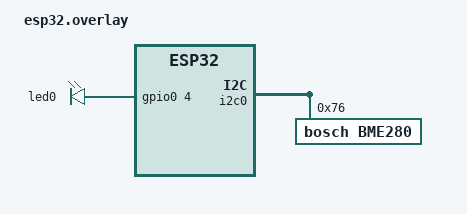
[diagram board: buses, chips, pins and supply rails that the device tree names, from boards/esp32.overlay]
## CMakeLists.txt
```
# Set the board to use for this project.
set(BOARD esp32)

cmake_minimum_required(VERSION 3.20.0)
find_package(Zephyr REQUIRED HINTS $ENV{ZEPHYR_BASE})

# Set the project name.
project(HouseEnvSensBLE)

target_sources(app PRIVATE src/main.c src/sensor_interface.c src/bluetooth_interface.c)
target_include_directories(app PRIVATE includes)
# zephyr_library_include_directories(${ZEPHYR_BASE}/samples/bluetooth)
```

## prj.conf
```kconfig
# Logging interface
CONFIG_LOG=y
# Bluetooth Interface
CONFIG_BT=y
CONFIG_BT_PERIPHERAL=y
CONFIG_BT_DEVICE_NAME="House Environmental Monitor"
CONFIG_BT_DEVICE_APPEARANCE=768
CONFIG_BT_SMP=y
CONFIG_TINYCRYPT=y
# BT Debugging
CONFIG_BT_DEBUG_LOG=y
# Sensor Interface
CONFIG_I2C=y
CONFIG_SENSOR=y
CONFIG_BME280=y
# Printf Needed
CONFIG_NEWLIB_LIBC=y 
CONFIG_CBPRINTF_FP_SUPPORT=y
CONFIG_NEWLIB_LIBC_FLOAT_PRINTF=y
# Heap Size for RTOS
CONFIG_HEAP_MEM_POOL_SIZE=256
```

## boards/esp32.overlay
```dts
/ {
	leds {
		compatible = "gpio-leds";
		led0: led_0 {
			gpios = <&gpio0 4 GPIO_ACTIVE_HIGH>;
		};
	};
};

&i2c0 {
	bme280@76 {
		status = "okay";
		compatible = "bosch,bme280";
		reg = <0x76>;
	};
};
```

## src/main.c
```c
#include <zephyr/kernel.h>
#include <zephyr/logging/log.h>
#include <zephyr/bluetooth/bluetooth.h>
#include <zephyr/bluetooth/conn.h>

#include <sensor_interface.h>
#include <bluetooth_interface.h>
#include <thread_settings.h>

#define WINDOW_SIZE_FOR_FILTER 5

LOG_MODULE_REGISTER(HouseEnvironmentMonitor);
K_SEM_DEFINE(semaphore_send_ready, 0, 1);

/* Thread for producer task. This thread will read the sensor data and store it in
 * the sensor_value_lifo. The thread will sleep for THREAD_SENSOR_SLEEP seconds
 * before reading the sensor data again.
 */
void sensor_read_thread(void) {
	// Get the BME280 device.
	const struct device *bme280_device = get_bme280_device();

	// Count the number of sensor readings.
	int sensor_read_count = 0;
	// Start the sensor readings.
	while (1) {
		LOG_DBG("Reading sensor data...");

		// Read the sensor data.
		update_sensor_data(bme280_device);

		// Increment the sensor read count.
		sensor_read_count++;

		// Give back the semaphore.
		if (sensor_read_count >= WINDOW_SIZE_FOR_FILTER) {
			sensor_read_count = 0;
			k_sem_give(&semaphore_send_ready);
		}

		// Sleep for THREAD_SLEEP seconds.
		k_sleep(K_SECONDS(THREAD_SENSOR_SLEEP));
	}
}

/* Thread for consumer task. This thread will read the sensor data from the sensor_value_lifo
 * and advertise the BLE services. The thread will sleep for THREAD_BLE_SLEEP seconds before
 * starting the advertisment again.
 */
void ble_advertise_thread(void) {
	int error = bt_enable(NULL);
	if (error) {
		LOG_ERR("ERROR: Bluetooth initilisation is failed with error code %d.", error);
		return;
	}

	// Start BLE services.
	start_bluetooth_advertisement();
	bt_conn_auth_cb_register(&callback_ble_display_info);
	
	while (1) {
		// Wait for the semaphore to be available.
		if (k_sem_take(&semaphore_send_ready, K_NO_WAIT) == 0) {
			LOG_DBG("Sensor data is available to send.");

			// Get the sensor data from the filter.
			struct values_for_ble_t *filtered_values = filter_sensor_value(WINDOW_SIZE_FOR_FILTER);
		
			// Check if the sensor data is available.
			if (filtered_values == NULL) {
				LOG_ERR("ERROR: No sensor data available.");
				continue;
			}

			LOG_INF("Sending sensor values with BLE: (%d.%d C) (%d.%d hPa)",
				filtered_values->temp_reading_int, filtered_values->temp_reading_dec,
				filtered_values->press_reading_int*10, filtered_values->press_reading_dec);

			// Notify the BLE connected device with new filtered values.
			notify_ble_connected_device(filtered_values);

			// Free the memory.
			k_free(filtered_values);
  		};

		// Sleep for THREAD_SLEEP seconds.
		k_sleep(K_SECONDS(THREAD_BLE_SLEEP));
	}
}
```

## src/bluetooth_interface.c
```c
#include <zephyr/bluetooth/bluetooth.h>
#include <zephyr/bluetooth/hci.h>
#include <zephyr/bluetooth/conn.h>
#include <zephyr/bluetooth/uuid.h>
#include <zephyr/bluetooth/gatt.h>
#include <zephyr/logging/log.h>
#include <zephyr/sys/byteorder.h>

#include <structs.h>

LOG_MODULE_DECLARE(HouseEnvironmentMonitor);

int16_t temp_reading = 0;
uint32_t press_reading = 0;
// uint16_t humid_reading = 0;

static void ble_ccc_cfg_changed(const struct bt_gatt_attr *attr, uint16_t value) {
	LOG_INF("Notifications %s.", (value == BT_GATT_CCC_NOTIFY) ? "enabled" : "disabled");
}

static ssize_t ble_read_operation(struct bt_conn *conn, const struct bt_gatt_attr *attr, void *buf, uint16_t len, uint16_t offset) {
	return bt_gatt_attr_read(conn, attr, buf, len, offset, &temp_reading, sizeof(temp_reading));
}

BT_GATT_SERVICE_DEFINE(
    ess_service, BT_GATT_PRIMARY_SERVICE(BT_UUID_ESS),

    /* Temperature Sensor */
    BT_GATT_CHARACTERISTIC(BT_UUID_TEMPERATURE, BT_GATT_CHRC_READ | BT_GATT_CHRC_NOTIFY, BT_GATT_PERM_READ, ble_read_operation, NULL, &temp_reading),
    BT_GATT_CCC(ble_ccc_cfg_changed, BT_GATT_PERM_READ | BT_GATT_PERM_WRITE),
	BT_GATT_CUD("BME280 Temperature Sensor", BT_GATT_PERM_READ),

    /* Pressure Sensor */
    BT_GATT_CHARACTERISTIC(BT_UUID_PRESSURE, BT_GATT_CHRC_NOTIFY, BT_GATT_PERM_READ, ble_read_operation, NULL, NULL),
    BT_GATT_CCC(ble_ccc_cfg_changed, BT_GATT_PERM_READ | BT_GATT_PERM_WRITE),
	BT_GATT_CUD("BME280 Pressure Sensor", BT_GATT_PERM_READ),

	/*
    Humidity Sensor
    BT_GATT_CHARACTERISTIC(BT_UUID_HUMIDITY, BT_GATT_CHRC_READ | BT_GATT_CHRC_NOTIFY, BT_GATT_PERM_READ, ble_read_operation, NULL, &humid_reading),
    BT_GATT_CCC(ble_ccc_cfg_changed, BT_GATT_PERM_READ | BT_GATT_PERM_WRITE),
	BT_GATT_CUD("BME280 Humidity Sensor", BT_GATT_PERM_READ),
	*/
);


/* This array defines the BLE advertisement data. The data is used to advertise the
 * BLE services. The data is sent to the BLE scanner. The scanner can then use the
 * data to connect to the BLE device. The data needs to be defined in bt_le_adv_start().
 */
static const struct bt_data advertisment_data[] = {
	BT_DATA_BYTES(
		BT_DATA_FLAGS,
		(BT_LE_AD_GENERAL | BT_LE_AD_NO_BREDR)
	),
	BT_DATA_BYTES(BT_DATA_GAP_APPEARANCE, 0x00, 0x03),
	BT_DATA_BYTES(
		BT_DATA_UUID16_ALL,
		BT_UUID_16_ENCODE(BT_UUID_ESS_VAL),
	),
};

/* This function is called when the BLE connection is established. If the connection
 * is successful, the function will print "INFO: Connected". Otherwise, it will print
 * "ERROR: Connection failed (error 0x%02x)". This function is called by the Zephyr
 * Bluetooth stack. No need to call it manually.
 */
static void callback_ble_connect(struct bt_conn *connection, uint8_t error) {
	if (error) {
		LOG_ERR("Connection failed (error 0x%02x).", error);
	} else {
		LOG_INF("A new BLE connection handled!");
	}
}

/* This function is called when the BLE connection is terminated. If the connection
 * is terminated, the function will print "Disconnected (reason 0x%02x)". This function
 * is called by the Zephyr Bluetooth stack. No need to call it manually.
 */
static void callback_ble_disconnect(struct bt_conn *connection, uint8_t reason) {
	LOG_INF("BLE disconnected (reason 0x%02x).", reason);
}

/* This macro defines the connection callbacks. The callbacks are called by the Zephyr
 * Bluetooth stack. No need to call them manually. Notice the similarity with the Linux
 * kernel callback macros.
 */
BT_CONN_CB_DEFINE(conn_callbacks) = {
	.connected = callback_ble_connect,
	.disconnected = callback_ble_disconnect,
};

/* This function is the main handler for the BLE advertisement. It should be called
 * after the BLE services are started. The function will start the BLE advertisement. 
 */
void start_bluetooth_advertisement(void) {
	LOG_INF("Bluetooth initialized.");

	int error = bt_le_adv_start(
        BT_LE_ADV_CONN_NAME,
        advertisment_data,
        ARRAY_SIZE(advertisment_data),
        NULL,
        0
    );

	if (error) {
		LOG_ERR("Advertising failed to start (err %d)", error);
		return;
	}

	LOG_DBG("Advertising successfully started.");
}

/* This function is called when the BLE pairing is cancelled. If the pairing is
 * cancelled, the function will print "Pairing cancelled: %s.". This function is
 * called by the Zephyr Bluetooth stack. No need to call it manually.
 */
static void callback_ble_pairing_cancel(struct bt_conn *connection) {
	char addr[BT_ADDR_LE_STR_LEN];
	bt_addr_le_to_str(bt_conn_get_dst(connection), addr, sizeof(addr));

	LOG_ERR("BLE pairing cancelled: %s.", addr);
}

/* This struct defines the BLE pairing callbacks. The callbacks are called by the
 * Zephyr Bluetooth stack. No need to call them manually. Notice the similarity with
 * the Linux kernel callback macros.
 */
struct bt_conn_auth_cb callback_ble_display_info = {
	.cancel = callback_ble_pairing_cancel,
};


ssize_t read_u16(struct bt_conn *conn, const struct bt_gatt_attr *attr, void *buf, uint16_t len, uint16_t offset) {
	const uint16_t *u16 = attr->user_data;
	uint16_t value = sys_cpu_to_le16(*u16);
 	return bt_gatt_attr_read(conn, attr, buf, len, offset, &value, sizeof(value));
}


void notify_ble_connected_device(struct values_for_ble_t *value_to_notify) {
	// Save the int part and dec part of the reading into an array.
	temp_reading = value_to_notify->temp_reading_int * 100 + value_to_notify->temp_reading_dec * 0.0001;
	press_reading = value_to_notify->press_reading_int * 100 + value_to_notify->press_reading_dec * 0.0001;

	// Convert the int part and dec part of the reading into a single integer. It's not realistically implemented.
	// humid_reading = value_to_notify->hum_reading_int * 100 + value_to_notify->hum_reading_dec;

	LOG_DBG("Notifying BLE connected device with temperature: %d.%d, pressure: %d.%d", 
		value_to_notify->temp_reading_int, value_to_notify->temp_reading_dec, 
		value_to_notify->press_reading_int*10, value_to_notify->press_reading_dec);
	LOG_DBG("Temperature: %d", temp_reading);
	LOG_DBG("Pressure: %d", press_reading);
	// LOG_INF("Humidity: %d", humid_reading);

	// BLE requires the data to be in little endian format.
	temp_reading = sys_cpu_to_le16(temp_reading);
	press_reading = sys_cpu_to_le16(press_reading);
	
	// Notify the connected BLE device about the new value.
	bt_gatt_notify_uuid(NULL, BT_UUID_TEMPERATURE, &ess_service.attrs[0], &temp_reading, sizeof(temp_reading));
	bt_gatt_notify_uuid(NULL, BT_UUID_PRESSURE, &ess_service.attrs[0], &press_reading, sizeof(press_reading));
	// bt_gatt_notify_uuid(NULL, BT_UUID_HUMIDITY, &ess_service.attrs[0], &humid_reading, sizeof(humid_reading));
}
```

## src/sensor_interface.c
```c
#include <zephyr/kernel.h>
#include <zephyr/types.h>
#include <zephyr/device.h>
#include <zephyr/devicetree.h>
#include <zephyr/drivers/sensor.h>
#include <zephyr/logging/log.h>
#include <zephyr/sys/__assert.h>

#include <sensor_interface.h>

LOG_MODULE_DECLARE(HouseEnvironmentMonitor);
K_LIFO_DEFINE(sensor_value_lifo);

/***** SIMULATION SETTINGS *****/
#define DEFAULT_TEMPERATURE 250
#define DEFAULT_PRESSURE 100
// #define DEFAULT_HUMIDITY 99
static uint8_t sim_temperature = DEFAULT_TEMPERATURE;
static uint8_t sim_pressure = DEFAULT_PRESSURE;
// static uint8_t sim_humidity = DEFAULT_HUMIDITY;

/* This function gets the device from the device tree. Note that the device
 * should have "bosch,bme280" as compatible string.
 * 
 * @param None
 * @return Pointer to the device, or NULL if the device is not found.
 */
const struct device *get_bme280_device(void) {
	const struct device *const dev = DEVICE_DT_GET_ANY(bosch_bme280);

	if (dev == NULL) {
		/* No such node, or the node does not have status "okay". */
		LOG_WRN("No BME280 sensor found. Will be using simulator instead.");
		return NULL;
	}

	if (!device_is_ready(dev)) {
		LOG_ERR("Error: Device \"%s\" is not ready. Check the driver initialization logs for errors.",
		       dev->name);
		return NULL;
	}

	LOG_INF("Found BME280 device \"%s\"", dev->name);
	return dev;
}

/* Read the I2C BME280 sensor, or simulate the sensor data if the sensor is not
 * available. 
 *
 * @param dev Pointer to the device (struct device).
 * @return None
 */
void update_sensor_data(const struct device *dev) {
	// Variables to store sensor data.
	struct sensor_value temp_value, press_value;
	// struct sensor_value humidity_value;

	// Check if the device is ready.
	if (dev != NULL) {
		// LOG
		LOG_DBG("Fetching sensor data.");
		// Read the sensor data.
		sensor_sample_fetch(dev);
		sensor_channel_get(dev, SENSOR_CHAN_AMBIENT_TEMP, &temp_value);
		sensor_channel_get(dev, SENSOR_CHAN_PRESS, &press_value);
		// sensor_channel_get(dev, SENSOR_CHAN_HUMIDITY, &humidity_value);

		// Print the sensor data.
		LOG_DBG("Temperature: %.2f C, Pressure: %.2f Pa", 
			sensor_value_to_double(&temp_value),
			sensor_value_to_double(&press_value));

	} else {
		// If the device is not ready, or not found, sample the sensor 
		// with dummy simulated values.
		// printk("INFO: Simulating sensor data.");

		// Sample the sensor with dummy values.
		temp_value.val1 = sim_temperature;
		temp_value.val2 = sim_temperature * 2 * 1000;
		press_value.val1 = sim_pressure;
		press_value.val2 = sim_pressure * 2 * 1000;
		// humidity_value.val1 = sim_humidity;
		// humidity_value.val2 = sim_humidity * 2 * 1000;

		// Decrease the dummy values.
		sim_temperature -= 1;
		sim_pressure -= 3;
		// sim_humidity -= 2;

		// If the dummy values are below 0, reset them.
		if (sim_temperature < 0)
			sim_temperature = DEFAULT_TEMPERATURE;
		if (sim_pressure < 0)
			sim_pressure = DEFAULT_PRESSURE;
		// if (sim_humidity < 0)
		//	sim_humidity = DEFAULT_HUMIDITY;
	}

	// Debug LOG
	LOG_DBG("Temperature: %.2f C, Pressure: %.2f Pa", 
		sensor_value_to_double(&temp_value),
		sensor_value_to_double(&press_value)
	//	sensor_value_to_double(&humidity_value)
	);

	// Create a struct to store the sensor readings.
	struct sensor_value_store_t tx_data = {
		.temperature = temp_value,
		.pressure = press_value
	//	.humidity = humidity_value,
	};

	size_t datatype_size = sizeof(struct sensor_value_store_t);
	struct sensor_value_store_t *mem_ptr = k_malloc(datatype_size);
	__ASSERT_NO_MSG(mem_ptr != 0);
	memcpy(mem_ptr, &tx_data, datatype_size);

	k_lifo_put(&sensor_value_lifo, mem_ptr);
}

/* Read the queued sensor values for a given window size, and return the
 * median values for each sensor as a values_for_ble_t pointer. The returned
 * pointer must be freed by the caller. This function's output is used to
 * update the BLE advertisement data.
 * 
 * @param window_size The window size to use for the median filter.
 * @return Pointer to the values_for_ble_t struct, or NULL if the window size
 *        is not an odd number.
 */
struct values_for_ble_t* filter_sensor_value(uint8_t window_size) {
	// Check if the window size is an odd number.
	if (window_size % 2 == 0) {
		LOG_ERR("Window size must be an odd number.");
		return NULL;
	}

	// Create a window to store the sensor values.
	uint8_t temp_window_index = 0;
	struct sensor_value temp_window[window_size];
	uint8_t press_window_size = 0;
	struct sensor_value press_window[window_size];
	// uint8_t humid_window_size = 0;
	// struct sensor_value humid_window[window_size];
	
	// Get the last sensor values for windowing operation.
	for (int i = 0; i < window_size; i++) {
		// Get the last sensor values.
		struct sensor_value_store_t *rx_data = k_lifo_get(&sensor_value_lifo, K_FOREVER);
		
		// Store the sensor values in the window.
		temp_window[i] = rx_data->temperature;
		press_window[i] = rx_data->pressure;
		// humid_window[i] = rx_data->humidity;

		k_free(rx_data);
	}

	// Sort the windows.
	for (int i = 0; i < window_size; i++) {
		for (int j = i + 1; j < window_size; j++) {

			// Compare and reorder the temperature values.
			if (temp_window[i].val1 > temp_window[j].val1) {
				// Change the order of the values.
				struct sensor_value temp = temp_window[i];
				temp_window[i] = temp_window[j];
				temp_window[j] = temp;
			} else if (temp_window[i].val1 == temp_window[j].val1) {
				// If the values are equal, compare the decimal values.
				if (temp_window[i].val2 > temp_window[j].val2) {
					// Change the order of the values.
					struct sensor_value temp = temp_window[i];
					temp_window[i] = temp_window[j];
					temp_window[j] = temp;
				}
			}

			// Compare and reorder the pressure values.
			if (press_window[i].val1 > press_window[j].val1) {
				// Change the order of the values.
				struct sensor_value temp = press_window[i];
				press_window[i] = press_window[j];
				press_window[j] = temp;
			} else if (press_window[i].val1 == press_window[j].val1) {
				// If the values are equal, compare the decimal values.
				if (press_window[i].val2 > press_window[j].val2) {
					// Change the order of the values.
					struct sensor_value temp = press_window[i];
					press_window[i] = press_window[j];
					press_window[j] = temp;
				}
			}

			/*
			// Compare and reorder the humidity values.
			if (humid_window[i].val1 > humid_window[j].val1) {
				// Change the order of the values.
				struct sensor_value temp = humid_window[i];
				humid_window[i] = humid_window[j];
				humid_window[j] = temp;
			} else if (humid_window[i].val1 == humid_window[j].val1) {
				// If the values are equal, compare the decimal values.
				if (humid_window[i].val2 > humid_window[j].val2) {
					// Change the order of the values.
					struct sensor_value temp = humid_window[i];
					humid_window[i] = humid_window[j];
					humid_window[j] = temp;
				}
			}
			*/
		}
	}

	// Get the median value.
	struct sensor_value temp_median = temp_window[window_size / 2];
	struct sensor_value press_median = press_window[window_size / 2];
	// struct sensor_value humid_median = humid_window[window_size / 2];

	// Debug LOG
	LOG_DBG("Temperature median: %d.%d C, Pressure median: %d.%d Pa", 
		temp_median.val1, temp_median.val2, press_median.val1, press_median.val2);

	// Return the median as values_for_ble_t.
	struct values_for_ble_t median_values = {
		.temp_reading_int = temp_median.val1,
		.temp_reading_dec = temp_median.val2,
		.press_reading_int = press_median.val1,
		.press_reading_dec = press_median.val2,
	//	.hum_reading_int = humid_median.val1,
	//	.hum_reading_dec = humid_median.val2
	};

	// Allocate memory for the median values and return them.
	size_t datatype_size = sizeof(struct values_for_ble_t);
	struct values_for_ble_t *median_values_ptr = k_malloc(datatype_size);
	__ASSERT_NO_MSG(median_values_ptr != 0);
	memcpy(median_values_ptr, &median_values, datatype_size);

	return median_values_ptr;
}
```
